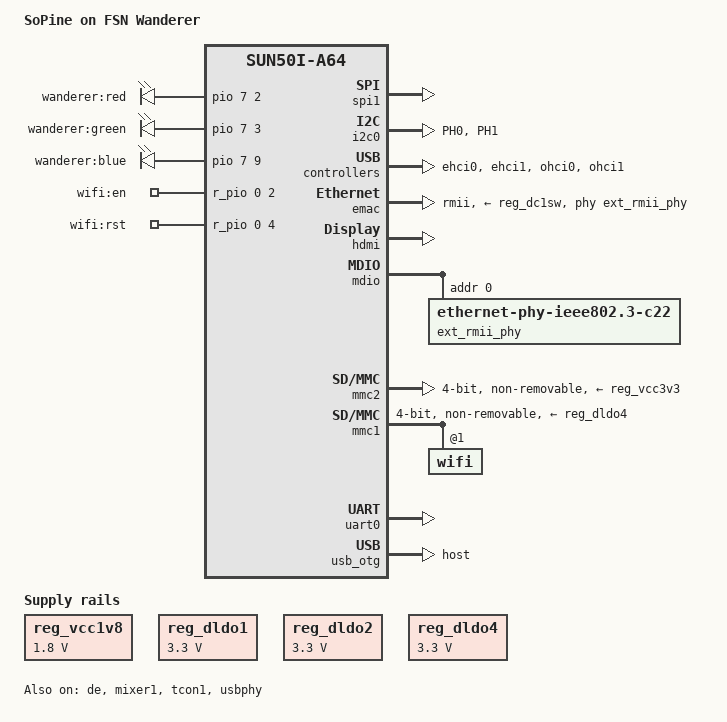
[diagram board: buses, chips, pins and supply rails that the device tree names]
/*
 * Copyright (c) 2017 Icenowy Zheng <icenowy@aosc.xyz>
 *
 * Based on sun50i-a64-pine64.dts, which is:
 *   Copyright (c) 2016 ARM Ltd.
 *
 * This file is dual-licensed: you can use it either under the terms
 * of the GPL or the X11 license, at your option. Note that this dual
 * licensing only applies to this file, and not this project as a
 * whole.
 *
 *  a) This library is free software; you can redistribute it and/or
 *     modify it under the terms of the GNU General Public License as
 *     published by the Free Software Foundation; either version 2 of the
 *     License, or (at your option) any later version.
 *
 *     This library is distributed in the hope that it will be useful,
 *     but WITHOUT ANY WARRANTY; without even the implied warranty of
 *     MERCHANTABILITY or FITNESS FOR A PARTICULAR PURPOSE.  See the
 *     GNU General Public License for more details.
 *
 * Or, alternatively,
 *
 *  b) Permission is hereby granted, free of charge, to any person
 *     obtaining a copy of this software and associated documentation
 *     files (the "Software"), to deal in the Software without
 *     restriction, including without limitation the rights to use,
 *     copy, modify, merge, publish, distribute, sublicense, and/or
 *     sell copies of the Software, and to permit persons to whom the
 *     Software is furnished to do so, subject to the following
 *     conditions:
 *
 *     The above copyright notice and this permission notice shall be
 *     included in all copies or substantial portions of the Software.
 *
 *     THE SOFTWARE IS PROVIDED "AS IS", WITHOUT WARRANTY OF ANY KIND,
 *     EXPRESS OR IMPLIED, INCLUDING BUT NOT LIMITED TO THE WARRANTIES
 *     OF MERCHANTABILITY, FITNESS FOR A PARTICULAR PURPOSE AND
 *     NONINFRINGEMENT. IN NO EVENT SHALL THE AUTHORS OR COPYRIGHT
 *     HOLDERS BE LIABLE FOR ANY CLAIM, DAMAGES OR OTHER LIABILITY,
 *     WHETHER IN AN ACTION OF CONTRACT, TORT OR OTHERWISE, ARISING
 *     FROM, OUT OF OR IN CONNECTION WITH THE SOFTWARE OR THE USE OR
 *     OTHER DEALINGS IN THE SOFTWARE.
 */

/dts-v1/;

#include "sun50i-a64-sopine.dtsi"
#include <dt-bindings/gpio/gpio.h>
#include <dt-bindings/input/input.h>
#include <dt-bindings/pwm/pwm.h>

/ {
	model = "SoPine on FSN Wanderer";
	compatible = "pine64,sopine-baseboard", "pine64,sopine",
		     "allwinner,sun50i-a64";

	aliases {
		ethernet0 = &emac;
		serial0 = &uart0;
	};

	chosen {
		stdout-path = "serial0:115200n8";
	};

	reg_vcc1v8: vcc1v8 {
		compatible = "regulator-fixed";
		regulator-name = "vcc1v8";
		regulator-min-microvolt = <1800000>;
		regulator-max-microvolt = <1800000>;
	};
	
	leds {
		compatible = "gpio-leds";
		red {
			label = "wanderer:red";
			gpios = <&pio 7 2 GPIO_ACTIVE_HIGH>; /* PH2 */
			default-state = "on";
		};

		green {
			label = "wanderer:green";
			gpios = <&pio 7 3 GPIO_ACTIVE_HIGH>; /* PH3 */
			default-state = "on";
		};
		
		blue {
			label = "wanderer:blue";
			gpios = <&pio 7 9 GPIO_ACTIVE_HIGH>; /* PH9 */
			default-state = "on";
		};
		wifi_en {
			label = "wifi:en";
			gpios = <&r_pio 0 2 GPIO_ACTIVE_HIGH>;
			default-state = "on";
		};
		wifi_rst {
			label = "wifi:rst";
			gpios = <&r_pio 0 4 GPIO_ACTIVE_HIGH>;
			default-state = "on";
		};
		
	};
	spi1: spi@01c69000 {
		compatible = "allwinner,sun6i-a31-spi";
		reg = <0x01c69000 0x1000>;
		interrupts = <GIC_SPI 66 IRQ_TYPE_LEVEL_HIGH>;
		clocks = <&ccu CLK_BUS_SPI1>, <&ccu CLK_SPI1>;
		resets = <&ccu RST_BUS_SPI1>;
		clock-names = "ahb", "mod";
		/*dmas = <&dma 24>, <&dma 24>;
		dma-names = "rx", "tx";*/
		status = "okay";
	};
};

/* Hog required GPIOs, e.g. enable USB power */
&pio {
	pullup: pullup {
		pins = "PC7", "PC4", "PB3";
		bias-pull-up;
	};
	i2c0_pins: i2c0_pins {
		pins = "PH0", "PH1";
		function = "i2c0";
		bias-pull-up;
	};
	spi1_pins: spi1_pins {
		pins = "PD0", "PD1", "PD2", "PD3";
		function = "spi1";
	};
};

&r_pio {
	/* Enable Wifi at boot */
	r_pullup: r_pullup {
		pins = "PL2", "PL3", "PL4", "PL5", "PL6";
		bias-pull-up;
	};
	/*wifi_en: wifi_en {
		gpio-hog;
		gpios = <0 2 GPIO_ACTIVE_HIGH 0 4 GPIO_ACTIVE_HIGH>;
		output-high;
		line-name = "wifi_en";
	};*/
};

&i2c0 {
	pinctrl-names = "default";
	pinctrl-0 = <&i2c0_pins>;
	status = "okay";
};


&de {
	status = "okay";
};

&ehci0 {
	status = "okay";
};

&ehci1 {
	status = "okay";
};

&emac {
	pinctrl-names = "default";
	pinctrl-0 = <&rmii_pins>;
	phy-mode = "rmii";
	phy-handle = <&ext_rmii_phy>;
	phy-supply = <&reg_dc1sw>;
	status = "okay";
};

&hdmi {
	hvcc-supply = <&reg_dldo1>;
	status = "okay";
};

&mdio {
	status = "okay";
	ext_rmii_phy: ethernet-phy@0 {
		compatible = "ethernet-phy-ieee802.3-c22";
		reg = <0>;
	};
};

&mixer1 {
	status = "okay";
};

&mmc2 {
	pinctrl-names = "default";
	pinctrl-0 = <&mmc2_pins>;
	vmmc-supply = <&reg_vcc3v3>;
	vqmmc-supply = <&reg_vcc1v8>;
	bus-width = <4>;
	non-removable;
	cap-mmc-hw-reset;
	status = "okay";
};

&mmc1 {
	pinctrl-names = "default";
	pinctrl-0 = <&mmc1_pins>;
	vmmc-supply = <&reg_dldo4>;
	vqmmc-supply = <&reg_eldo1>;
	bus-width = <4>;
	non-removable;
	status = "okay";

	wifi: wifi@1 {
		reg = <1>;
	};
};


&ohci0 {
	status = "okay";
};

&ohci1 {
	status = "okay";
};

&reg_dc1sw {
        regulator-always-on;
	regulator-name = "vcc-phy";
};

&reg_dldo1 {
	regulator-min-microvolt = <3300000>;
	regulator-max-microvolt = <3300000>;
	regulator-name = "vcc-hdmi";
};

&reg_dldo2 {
	regulator-min-microvolt = <3300000>;
	regulator-max-microvolt = <3300000>;
	regulator-name = "vcc-mipi";
};

&reg_dldo4 {
    regulator-always-on;
	regulator-min-microvolt = <3300000>;
	regulator-max-microvolt = <3300000>;
	regulator-name = "vcc-wifi";
};

&tcon1 {
	status = "okay";
};

&uart0 {
	pinctrl-names = "default";
	pinctrl-0 = <&uart0_pins_a>;
	status = "okay";
};

&usb_otg {
	dr_mode = "host";
	status = "okay";
};

&usbphy {
	status = "okay";
};
